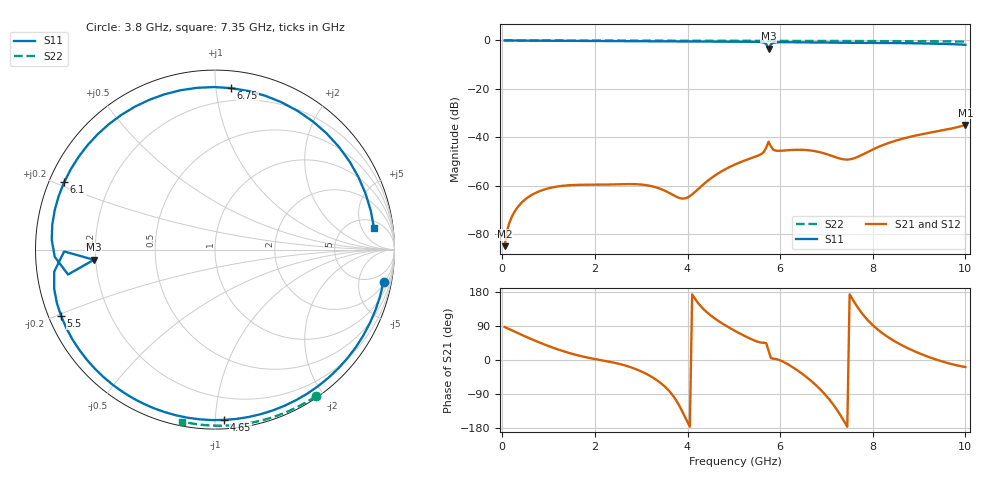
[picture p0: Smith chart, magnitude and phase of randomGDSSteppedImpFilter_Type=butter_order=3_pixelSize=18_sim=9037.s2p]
! freq	dB(S11)	phase(S11)	dB(S12)	phase(S12)
!  dB(S21)	phase(S21)	dB(S22)	phase(S22)
!S-par simulation data
#  GHz  S  DB  R 50
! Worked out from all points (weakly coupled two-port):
!   200 points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, 50 MHz to 10 GHz, reference 50 ohm
!   highest |S21| = -34.96 dB at 10 GHz (marker M1); lowest = -85.1 dB at 50 MHz (marker M2)
!   lowest |S11| = -3.4 dB at 5.75 GHz (marker M3), VSWR 5.20, Z = 9.63 - j2.02 ohm
!   |S11| at or under -10 dB: nowhere
!   |S22| runs from -0.4 to 0.0 dB; largest |S21 - S12| = 0
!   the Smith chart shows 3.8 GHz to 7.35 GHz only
!   S11 on the Smith chart (normalised r, x): 3.8 GHz: 2, -10; 4.65 GHz: 0.05, -1.05; 5.5 GHz: 0.04, -0.21; 6.1 GHz: 0.04, +0.21; 6.75 GHz: 0.11, +1.10; 7.35 GHz: 7, +9
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0.05  -0.01 -5.0  -85.06 87.2  -85.06 87.2  -0.00 -0.8
0.4  -0.05 -39.6  -67.40 67.4  -67.40 67.4  -0.01 -6.1
0.9  -0.11 -87.5  -61.67 41.5  -61.67 41.5  -0.02 -13.6
1.3  -0.15 -124.6  -60.11 23.9  -60.11 23.9  -0.02 -19.5
1.75  -0.19 -165.6  -59.67 8.8  -59.67 8.8  -0.03 -26.2
2.2  -0.24 152.3  -59.61 -2.0  -59.61 -2.0  -0.04 -32.8
2.7  -0.29 102.8  -59.38 -16.2  -59.38 -16.2  -0.05 -40.0
3.4  -0.36 29.7  -61.25 -58.9  -61.25 -58.9  -0.07 -49.9
3.8  -0.39 -10.8  -64.96 -115.8  -64.96 -115.8  -0.08 -55.4
4.25  -0.41 -52.8  -61.09 147.0  -61.09 147.0  -0.09 -61.5
4.65  -0.44 -87.0  -55.11 104.3  -55.11 104.3  -0.10 -66.9
5.05  -0.48 -119.3  -51.08 75.1  -51.08 75.1  -0.11 -72.2
5.5  -0.59 -156.6  -47.79 48.9  -47.79 48.9  -0.13 -78.0
5.75  -3.38 -175.2  -41.85 24.7  -41.85 24.7  -0.14 -81.2
6.1  -0.72 155.9  -45.49 -6.8  -45.49 -6.8  -0.15 -85.6
6.7  -0.86 90.4  -45.61 -58.4  -45.61 -58.4  -0.18 -93.0
6.75  -0.87 84.3  -45.77 -63.9  -45.77 -63.9  -0.18 -93.6
7.35  -0.97 7.6  -49.09 -155.3  -49.09 -155.3  -0.22 -100.8
7.85  -0.99 -50.9  -46.52 110.9  -46.52 110.9  -0.25 -106.7
8.35  -1.05 -98.3  -42.34 58.7  -42.34 58.7  -0.29 -112.6
9.15  -1.25 -158.1  -38.44 10.6  -38.44 10.6  -0.36 -121.7
10  -1.79 144.8  -34.96 -18.6  -34.96 -18.6  -0.45 -131.3
